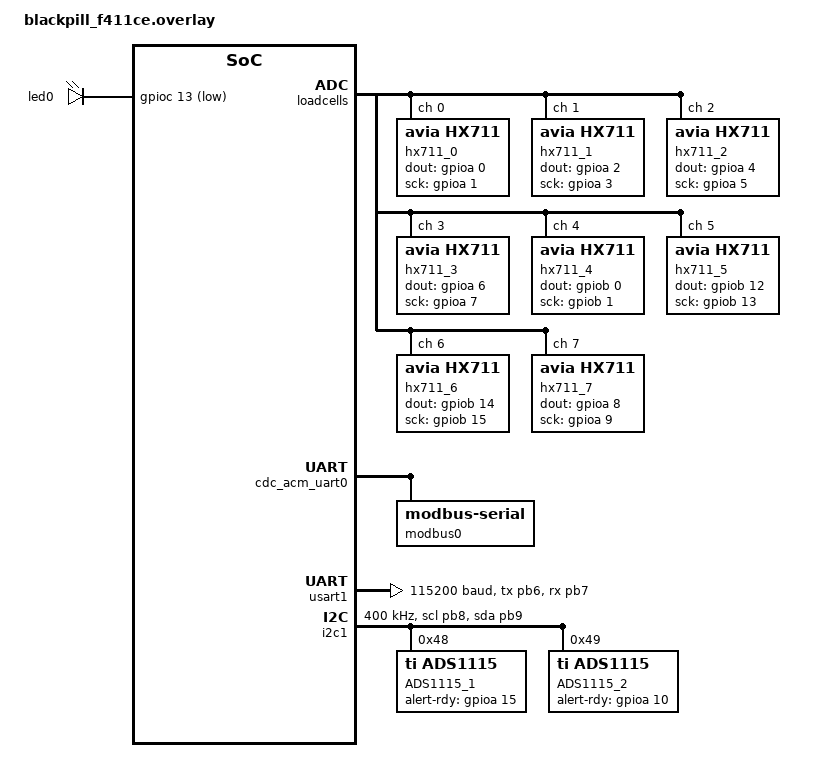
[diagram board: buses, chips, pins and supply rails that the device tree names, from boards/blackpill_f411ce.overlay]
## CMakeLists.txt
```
# SPDX-License-Identifier: Apache-2.0

cmake_minimum_required(VERSION 3.20.0)

find_package(Zephyr REQUIRED HINTS $ENV{ZEPHYR_BASE})
project(dsm)

FILE(GLOB app_sources src/*.c*)
target_sources(app PRIVATE ${app_sources})
```

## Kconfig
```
# Copyright (c) 2023 Nordic Semiconductor ASA
# SPDX-License-Identifier: Apache-2.0

# Source common USB sample options used to initialize new experimental USB
# device stack. The scope of these options is limited to USB samples in project
# tree, you cannot use them in your own application.
source "samples/subsys/usb/common/Kconfig.sample_usbd"

source "Kconfig.zephyr"

config LOADCELL_FREQ
	int "Loadcell sampling frequency (Hz)"
	default 10
	help
	  Sampling frequency for the loadcell in Hz.
	  Default is 10 Hz for rpi_pico, 80 Hz for blackpill_f411ce.

config LOADCELL_ENABLE_FILTER
    bool "Enable loadcell filter"
    default n
    help
      Enable fixed-point loadcell filtering and 10 Hz decimation.
```

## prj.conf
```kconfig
## Build system configuration
CONFIG_LTO=n
CONFIG_SIZE_OPTIMIZATIONS=n
CONFIG_SPEED_OPTIMIZATIONS=y
CONFIG_MINIMAL_LIBC=n
CONFIG_NEWLIB_LIBC=y
CONFIG_NEWLIB_LIBC_FLOAT_PRINTF=y

## Kernel configuration
CONFIG_MULTITHREADING=y
CONFIG_TIMESLICING=y
CONFIG_SYS_CLOCK_TICKS_PER_SEC=1000
CONFIG_TICKLESS_KERNEL=n

# USB device configuration
CONFIG_USB_DEVICE_STACK=y
CONFIG_USB_DEVICE_PID=0x05e1
CONFIG_USB_DEVICE_VID=0x16c0
CONFIG_USB_DEVICE_PRODUCT="Milia/Yamanin"
CONFIG_USB_DEVICE_MANUFACTURER="mkt-kuno@iis.u-tokyo.ac.jp"
CONFIG_USB_DEVICE_INITIALIZE_AT_BOOT=n

# Peripheral drivers
CONFIG_ADC=y
CONFIG_ADC_ASYNC=y
CONFIG_GPIO=y
CONFIG_EVENTS=y
CONFIG_SERIAL=y
CONFIG_I2C=y

# Modbus and Serial(for RTU) configuration
CONFIG_MODBUS=y
CONFIG_MODBUS_ROLE_SERVER=y
CONFIG_MODBUS_FP_EXTENSIONS=y
CONFIG_UART_LINE_CTRL=n
CONFIG_CONSOLE=n
CONFIG_UART_CONSOLE=n
```

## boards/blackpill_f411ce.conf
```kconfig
# Board-specific configuration for BlackPill F411CE
CONFIG_USB_DEVICE_PRODUCT="Yamanin v3.0"
CONFIG_LOADCELL_FREQ=80
CONFIG_LOADCELL_ENABLE_FILTER=y
```

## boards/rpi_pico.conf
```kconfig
# Board-specific configuration for Raspberry Pi Pico
CONFIG_USB_DEVICE_PRODUCT="Milia v4.0"
CONFIG_LOADCELL_FREQ=10
```

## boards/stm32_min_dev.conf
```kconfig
# Board-specific configuration for STM32 Min Dev (STM32F103)
CONFIG_USB_DEVICE_PRODUCT="Yamanin Mini v3.0"
CONFIG_LOADCELL_FREQ=80
CONFIG_LOADCELL_ENABLE_FILTER=y

# Stack size optimizations for STM32F1
CONFIG_MAIN_STACK_SIZE=768
CONFIG_ISR_STACK_SIZE=1024
CONFIG_SYSTEM_WORKQUEUE_STACK_SIZE=768
CONFIG_USB_WORKQUEUE_STACK_SIZE=512
CONFIG_USB_CDC_ACM_RINGBUF_SIZE=1024
CONFIG_ADC_ADS1X1X_ACQUISITION_THREAD_STACK_SIZE=256
```

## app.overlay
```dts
/*
 * Copyright (c) 2021 Nordic Semiconductor ASA
 *
 * SPDX-License-Identifier: Apache-2.0
 */

&zephyr_udc0 {
	cdc_acm_uart0: cdc_acm_uart0 {
		compatible = "zephyr,cdc-acm-uart";

		modbus0 {
			compatible = "zephyr,modbus-serial";
			status = "okay";
		};
	};
};
 
&pinctrl {
    uart0_userdef: uart0_userdef {
		group1 {
			pinmux = <UART0_TX_P16>;
		};
		group2 {
			pinmux = <UART0_RX_P17>;
			input-enable;
		};
	};

    i2c0_userdef: i2c0_userdef {
		group1 {
			pinmux = <I2C0_SDA_P20>, <I2C0_SCL_P21>;
			input-enable;
			input-schmitt-enable;
		};
	};
};

&uart0 {
	current-speed = <921600>;
	status = "okay";
	pinctrl-0 = <&uart0_userdef>;
	pinctrl-names = "default";
};

&i2c0 {
	pinctrl-0 = <&i2c0_userdef>;
	pinctrl-names = "default";
	status = "okay";
	clock-frequency = <I2C_BITRATE_FAST>;

	ads1115_1: ads1115@48 {
		compatible = "ti,ads1115";
		reg = <0x48>;
        label = "ADS1115_1";
		#io-channel-cells = <1>;
        #address-cells = <1>;
        #size-cells = <0>;
        alert-rdy-gpios = <&gpio0 22 GPIO_ACTIVE_HIGH>;

        channel@0 {
            reg = <0>;
            zephyr,gain = "ADC_GAIN_1_3";
            zephyr,reference = "ADC_REF_INTERNAL";
            zephyr,acquisition-time = <ADC_ACQ_TIME(ADC_ACQ_TIME_MICROSECONDS, 1)>;
        };

        channel@1 {
            reg = <1>;
            zephyr,gain = "ADC_GAIN_1_3";
            zephyr,reference = "ADC_REF_INTERNAL";
            zephyr,acquisition-time = <ADC_ACQ_TIME(ADC_ACQ_TIME_MICROSECONDS, 1)>;
        };

        channel@2 {
            reg = <2>;
            zephyr,gain = "ADC_GAIN_1_3";
            zephyr,reference = "ADC_REF_INTERNAL";
            zephyr,acquisition-time = <ADC_ACQ_TIME(ADC_ACQ_TIME_MICROSECONDS, 1)>;
        };

        channel@3 {
            reg = <3>;
            zephyr,gain = "ADC_GAIN_1_3";
            zephyr,reference = "ADC_REF_INTERNAL";
            zephyr,acquisition-time = <ADC_ACQ_TIME(ADC_ACQ_TIME_MICROSECONDS, 1)>;
        };
	};

	ads1115_2: ads1115@49 {
        compatible = "ti,ads1115";
        reg = <0x49>;  // 2つ目のADS1115のI2Cアドレス
        label = "ADS1115_2";
        #io-channel-cells = <1>;
        #address-cells = <1>;
        #size-cells = <0>;
        alert-rdy-gpios = <&gpio0 28 GPIO_ACTIVE_HIGH>;

        channel@0 {
            reg = <0>;
            zephyr,gain = "ADC_GAIN_1_3";
            zephyr,reference = "ADC_REF_INTERNAL";
            zephyr,acquisition-time = <ADC_ACQ_TIME(ADC_ACQ_TIME_MICROSECONDS, 1)>;
        };

        channel@1 {
            reg = <1>;
            zephyr,gain = "ADC_GAIN_1_3";
            zephyr,reference = "ADC_REF_INTERNAL";
            zephyr,acquisition-time = <ADC_ACQ_TIME(ADC_ACQ_TIME_MICROSECONDS, 1)>;
        };

        channel@2 {
            reg = <2>;
            zephyr,gain = "ADC_GAIN_1_3";
            zephyr,reference = "ADC_REF_INTERNAL";
            zephyr,acquisition-time = <ADC_ACQ_TIME(ADC_ACQ_TIME_MICROSECONDS, 1)>;
        };

        channel@3 {
            reg = <3>;
            zephyr,gain = "ADC_GAIN_1_3";
            zephyr,reference = "ADC_REF_INTERNAL";
            zephyr,acquisition-time = <ADC_ACQ_TIME(ADC_ACQ_TIME_MICROSECONDS, 1)>;
        };
    };
};

/ {
    chosen {
        zephyr,console = &uart0;
    };

	hx711_dout: hx711_dout { 
		compatible = "gpio-loadcell";
		gpios = <&gpio0 0  GPIO_ACTIVE_HIGH>,
				<&gpio0 2  GPIO_ACTIVE_HIGH>,
				<&gpio0 4  GPIO_ACTIVE_HIGH>,
				<&gpio0 6  GPIO_ACTIVE_HIGH>,
				<&gpio0 8  GPIO_ACTIVE_HIGH>,
				<&gpio0 10 GPIO_ACTIVE_HIGH>,
				<&gpio0 12 GPIO_ACTIVE_HIGH>,
				<&gpio0 14  GPIO_ACTIVE_HIGH>;
	};

	hx711_sck: hx711_sck { 
		compatible = "gpio-loadcell";
		gpios = <&gpio0 1  GPIO_ACTIVE_HIGH>,
				<&gpio0 3  GPIO_ACTIVE_HIGH>,
				<&gpio0 5  GPIO_ACTIVE_HIGH>,
				<&gpio0 7  GPIO_ACTIVE_HIGH>,
				<&gpio0 9  GPIO_ACTIVE_HIGH>,
				<&gpio0 11 GPIO_ACTIVE_HIGH>,
				<&gpio0 13 GPIO_ACTIVE_HIGH>,
				<&gpio0 15  GPIO_ACTIVE_HIGH>;
	};
};
```

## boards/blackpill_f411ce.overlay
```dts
/*
 * Copyright (c) 2021 Nordic Semiconductor ASA
 *
 * SPDX-License-Identifier: Apache-2.0
 */

&zephyr_udc0 {
	cdc_acm_uart0: cdc_acm_uart0 {
		compatible = "zephyr,cdc-acm-uart";

		modbus0 {
			compatible = "zephyr,modbus-serial";
			status = "okay";
		};
	};
};

&usart1 {
	pinctrl-0 = <&usart1_tx_pb6 &usart1_rx_pb7>;
	pinctrl-names = "default";
	status = "okay";
	current-speed = <115200>;
};

&i2c1 {
	pinctrl-0 = <&i2c1_scl_pb8 &i2c1_sda_pb9>;
	pinctrl-names = "default";
	status = "okay";
	clock-frequency = <I2C_BITRATE_FAST>;

	ads1115_1: ads1115@48 {
		compatible = "ti,ads1115";
		reg = <0x48>;
        label = "ADS1115_1";
		#io-channel-cells = <1>;
        #address-cells = <1>;
        #size-cells = <0>;
        alert-rdy-gpios = <&gpioa 15 GPIO_ACTIVE_HIGH>;

        channel@0 {
            reg = <0>;
            zephyr,gain = "ADC_GAIN_1_3";
            zephyr,reference = "ADC_REF_INTERNAL";
            zephyr,acquisition-time = <ADC_ACQ_TIME(ADC_ACQ_TIME_MICROSECONDS, 1)>;
        };

        channel@1 {
            reg = <1>;
            zephyr,gain = "ADC_GAIN_1_3";
            zephyr,reference = "ADC_REF_INTERNAL";
            zephyr,acquisition-time = <ADC_ACQ_TIME(ADC_ACQ_TIME_MICROSECONDS, 1)>;
        };

        channel@2 {
            reg = <2>;
            zephyr,gain = "ADC_GAIN_1_3";
            zephyr,reference = "ADC_REF_INTERNAL";
            zephyr,acquisition-time = <ADC_ACQ_TIME(ADC_ACQ_TIME_MICROSECONDS, 1)>;
        };

        channel@3 {
            reg = <3>;
            zephyr,gain = "ADC_GAIN_1_3";
            zephyr,reference = "ADC_REF_INTERNAL";
            zephyr,acquisition-time = <ADC_ACQ_TIME(ADC_ACQ_TIME_MICROSECONDS, 1)>;
        };
	};

	ads1115_2: ads1115@49 {
        compatible = "ti,ads1115";
        reg = <0x49>;  // 2つ目のADS1115のI2Cアドレス
        label = "ADS1115_2";
        #io-channel-cells = <1>;
        #address-cells = <1>;
        #size-cells = <0>;
        alert-rdy-gpios = <&gpioa 10 GPIO_ACTIVE_HIGH>;

        channel@0 {
            reg = <0>;
            zephyr,gain = "ADC_GAIN_1_3";
            zephyr,reference = "ADC_REF_INTERNAL";
            zephyr,acquisition-time = <ADC_ACQ_TIME(ADC_ACQ_TIME_MICROSECONDS, 1)>;
        };

        channel@1 {
            reg = <1>;
            zephyr,gain = "ADC_GAIN_1_3";
            zephyr,reference = "ADC_REF_INTERNAL";
            zephyr,acquisition-time = <ADC_ACQ_TIME(ADC_ACQ_TIME_MICROSECONDS, 1)>;
        };

        channel@2 {
            reg = <2>;
            zephyr,gain = "ADC_GAIN_1_3";
            zephyr,reference = "ADC_REF_INTERNAL";
            zephyr,acquisition-time = <ADC_ACQ_TIME(ADC_ACQ_TIME_MICROSECONDS, 1)>;
        };

        channel@3 {
            reg = <3>;
            zephyr,gain = "ADC_GAIN_1_3";
            zephyr,reference = "ADC_REF_INTERNAL";
            zephyr,acquisition-time = <ADC_ACQ_TIME(ADC_ACQ_TIME_MICROSECONDS, 1)>;
        };
    };
};

/ {
	aliases {
		i2c-main = &i2c1;
	};

	chosen {
		zephyr,console = &usart1;
	};

	leds {
		compatible = "gpio-leds";
        led0: led0 {
			gpios = <&gpioc 13 GPIO_ACTIVE_LOW>;
		};
    };

	loadcells {
		#address-cells = <1>;
		#size-cells = <0>;

		hx711_0: hx711@0 {
			compatible = "avia,hx711";
			reg = <0>;
			dout-gpios = <&gpioa 0 GPIO_ACTIVE_HIGH>;
			sck-gpios = <&gpioa 1 GPIO_ACTIVE_HIGH>;
			#interrupt-enable;
		};

		hx711_1: hx711@1 {
			compatible = "avia,hx711";
			reg = <1>;
			dout-gpios = <&gpioa 2 GPIO_ACTIVE_HIGH>;
			sck-gpios = <&gpioa 3 GPIO_ACTIVE_HIGH>;
			interrupt-enable;
		};

		hx711_2: hx711@2 {
			compatible = "avia,hx711";
			reg = <2>;
			dout-gpios = <&gpioa 4 GPIO_ACTIVE_HIGH>;
			sck-gpios = <&gpioa 5 GPIO_ACTIVE_HIGH>;
			interrupt-enable;
		};

		hx711_3: hx711@3 {
			compatible = "avia,hx711";
			reg = <3>;
			dout-gpios = <&gpioa 6 GPIO_ACTIVE_HIGH>;
			sck-gpios = <&gpioa 7 GPIO_ACTIVE_HIGH>;
			interrupt-enable;
		};

		hx711_4: hx711@4 {
			compatible = "avia,hx711";
			reg = <4>;
			dout-gpios = <&gpiob 0 GPIO_ACTIVE_HIGH>;
			sck-gpios = <&gpiob 1 GPIO_ACTIVE_HIGH>;
			interrupt-enable;
		};

		hx711_5: hx711@5 {
			compatible = "avia,hx711";
			reg = <5>;
			dout-gpios = <&gpiob 12 GPIO_ACTIVE_HIGH>;
			sck-gpios = <&gpiob 13 GPIO_ACTIVE_HIGH>;
			interrupt-enable;
		};

		hx711_6: hx711@6 {
			compatible = "avia,hx711";
			reg = <6>;
			dout-gpios = <&gpiob 14 GPIO_ACTIVE_HIGH>;
			sck-gpios = <&gpiob 15 GPIO_ACTIVE_HIGH>;
			interrupt-enable;
		};

		hx711_7: hx711@7 {
			compatible = "avia,hx711";
			reg = <7>;
			dout-gpios = <&gpioa 8 GPIO_ACTIVE_HIGH>;
			sck-gpios = <&gpioa 9 GPIO_ACTIVE_HIGH>;
			interrupt-enable;
		};
	};
};
```

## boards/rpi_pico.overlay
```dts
/*
 * Copyright (c) 2021 Nordic Semiconductor ASA
 *
 * SPDX-License-Identifier: Apache-2.0
 */

&zephyr_udc0 {
	cdc_acm_uart0: cdc_acm_uart0 {
		compatible = "zephyr,cdc-acm-uart";

		modbus0 {
			compatible = "zephyr,modbus-serial";
			status = "okay";
		};
	};
};
 
&pinctrl {
    uart0_userdef: uart0_userdef {
		group1 {
			pinmux = <UART0_TX_P16>;
		};
		group2 {
			pinmux = <UART0_RX_P17>;
			input-enable;
		};
	};

    i2c0_userdef: i2c0_userdef {
		group1 {
			pinmux = <I2C0_SDA_P20>, <I2C0_SCL_P21>;
			input-enable;
			input-schmitt-enable;
		};
	};
};

&uart0 {
	current-speed = <921600>;
	status = "okay";
	pinctrl-0 = <&uart0_userdef>;
	pinctrl-names = "default";
};

&i2c0 {
	pinctrl-0 = <&i2c0_userdef>;
	pinctrl-names = "default";
	status = "okay";
	clock-frequency = <I2C_BITRATE_FAST>;

	ads1115_1: ads1115@48 {
		compatible = "ti,ads1115";
		reg = <0x48>;
        label = "ADS1115_1";
		#io-channel-cells = <1>;
        #address-cells = <1>;
        #size-cells = <0>;
        alert-rdy-gpios = <&gpio0 22 GPIO_ACTIVE_HIGH>;

        channel@0 {
            reg = <0>;
            zephyr,gain = "ADC_GAIN_1_3";
            zephyr,reference = "ADC_REF_INTERNAL";
            zephyr,acquisition-time = <ADC_ACQ_TIME(ADC_ACQ_TIME_MICROSECONDS, 1)>;
        };

        channel@1 {
            reg = <1>;
            zephyr,gain = "ADC_GAIN_1_3";
            zephyr,reference = "ADC_REF_INTERNAL";
            zephyr,acquisition-time = <ADC_ACQ_TIME(ADC_ACQ_TIME_MICROSECONDS, 1)>;
        };

        channel@2 {
            reg = <2>;
            zephyr,gain = "ADC_GAIN_1_3";
            zephyr,reference = "ADC_REF_INTERNAL";
            zephyr,acquisition-time = <ADC_ACQ_TIME(ADC_ACQ_TIME_MICROSECONDS, 1)>;
        };

        channel@3 {
            reg = <3>;
            zephyr,gain = "ADC_GAIN_1_3";
            zephyr,reference = "ADC_REF_INTERNAL";
            zephyr,acquisition-time = <ADC_ACQ_TIME(ADC_ACQ_TIME_MICROSECONDS, 1)>;
        };
	};

	ads1115_2: ads1115@49 {
        compatible = "ti,ads1115";
        reg = <0x49>;  // 2つ目のADS1115のI2Cアドレス
        label = "ADS1115_2";
        #io-channel-cells = <1>;
        #address-cells = <1>;
        #size-cells = <0>;
        alert-rdy-gpios = <&gpio0 28 GPIO_ACTIVE_HIGH>;

        channel@0 {
            reg = <0>;
            zephyr,gain = "ADC_GAIN_1_3";
            zephyr,reference = "ADC_REF_INTERNAL";
            zephyr,acquisition-time = <ADC_ACQ_TIME(ADC_ACQ_TIME_MICROSECONDS, 1)>;
        };

        channel@1 {
            reg = <1>;
            zephyr,gain = "ADC_GAIN_1_3";
            zephyr,reference = "ADC_REF_INTERNAL";
            zephyr,acquisition-time = <ADC_ACQ_TIME(ADC_ACQ_TIME_MICROSECONDS, 1)>;
        };

        channel@2 {
            reg = <2>;
            zephyr,gain = "ADC_GAIN_1_3";
            zephyr,reference = "ADC_REF_INTERNAL";
            zephyr,acquisition-time = <ADC_ACQ_TIME(ADC_ACQ_TIME_MICROSECONDS, 1)>;
        };

        channel@3 {
            reg = <3>;
            zephyr,gain = "ADC_GAIN_1_3";
            zephyr,reference = "ADC_REF_INTERNAL";
            zephyr,acquisition-time = <ADC_ACQ_TIME(ADC_ACQ_TIME_MICROSECONDS, 1)>;
        };
    };
};

/ {
    aliases {
        i2c-main = &i2c0;
    };

    chosen {
        zephyr,console = &uart0;
    };

	loadcells {
		#address-cells = <1>;
		#size-cells = <0>;

		hx711_0: hx711@0 {
			compatible = "avia,hx711";
			reg = <0>;
			dout-gpios = <&gpio0 0 GPIO_ACTIVE_HIGH>;
			sck-gpios = <&gpio0 1 GPIO_ACTIVE_HIGH>;
			interrupt-enable;
		};

		hx711_1: hx711@1 {
			compatible = "avia,hx711";
			reg = <1>;
			dout-gpios = <&gpio0 2 GPIO_ACTIVE_HIGH>;
			sck-gpios = <&gpio0 3 GPIO_ACTIVE_HIGH>;
			interrupt-enable;
		};

		hx711_2: hx711@2 {
			compatible = "avia,hx711";
			reg = <2>;
			dout-gpios = <&gpio0 4 GPIO_ACTIVE_HIGH>;
			sck-gpios = <&gpio0 5 GPIO_ACTIVE_HIGH>;
			interrupt-enable;
		};

		hx711_3: hx711@3 {
			compatible = "avia,hx711";
			reg = <3>;
			dout-gpios = <&gpio0 6 GPIO_ACTIVE_HIGH>;
			sck-gpios = <&gpio0 7 GPIO_ACTIVE_HIGH>;
			interrupt-enable;
		};

		hx711_4: hx711@4 {
			compatible = "avia,hx711";
			reg = <4>;
			dout-gpios = <&gpio0 8 GPIO_ACTIVE_HIGH>;
			sck-gpios = <&gpio0 9 GPIO_ACTIVE_HIGH>;
			interrupt-enable;
		};

		hx711_5: hx711@5 {
			compatible = "avia,hx711";
			reg = <5>;
			dout-gpios = <&gpio0 10 GPIO_ACTIVE_HIGH>;
			sck-gpios = <&gpio0 11 GPIO_ACTIVE_HIGH>;
			interrupt-enable;
		};

		hx711_6: hx711@6 {
			compatible = "avia,hx711";
			reg = <6>;
			dout-gpios = <&gpio0 12 GPIO_ACTIVE_HIGH>;
			sck-gpios = <&gpio0 13 GPIO_ACTIVE_HIGH>;
			interrupt-enable;
		};

		hx711_7: hx711@7 {
			compatible = "avia,hx711";
			reg = <7>;
			dout-gpios = <&gpio0 14 GPIO_ACTIVE_HIGH>;
			sck-gpios = <&gpio0 15 GPIO_ACTIVE_HIGH>;
			interrupt-enable;
		};
	};
};
```

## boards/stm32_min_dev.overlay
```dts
/*
 * Copyright (c) 2021 Nordic Semiconductor ASA
 *
 * SPDX-License-Identifier: Apache-2.0
 */
&zephyr_udc0 {
	cdc_acm_uart0: cdc_acm_uart0 {
		compatible = "zephyr,cdc-acm-uart";

		modbus0 {
			compatible = "zephyr,modbus-serial";
			status = "okay";
		};
	};
};

&i2c1 {
	pinctrl-0 = <&i2c1_scl_remap1_pb8 &i2c1_sda_remap1_pb9>;
	pinctrl-names = "default";
	status = "okay";
	clock-frequency = <I2C_BITRATE_FAST>;

	ads1115_1: ads1115@48 {
		compatible = "ti,ads1115";
		reg = <0x48>;
        label = "ADS1115_1";
		#io-channel-cells = <1>;
        #address-cells = <1>;
        #size-cells = <0>;
        alert-rdy-gpios = <&gpioa 15 GPIO_ACTIVE_HIGH>;

        channel@0 {
            reg = <0>;
            zephyr,gain = "ADC_GAIN_1_3";
            zephyr,reference = "ADC_REF_INTERNAL";
            zephyr,acquisition-time = <ADC_ACQ_TIME(ADC_ACQ_TIME_MICROSECONDS, 1)>;
        };

        channel@1 {
            reg = <1>;
            zephyr,gain = "ADC_GAIN_1_3";
            zephyr,reference = "ADC_REF_INTERNAL";
            zephyr,acquisition-time = <ADC_ACQ_TIME(ADC_ACQ_TIME_MICROSECONDS, 1)>;
        };

        channel@2 {
            reg = <2>;
            zephyr,gain = "ADC_GAIN_1_3";
            zephyr,reference = "ADC_REF_INTERNAL";
            zephyr,acquisition-time = <ADC_ACQ_TIME(ADC_ACQ_TIME_MICROSECONDS, 1)>;
        };

        channel@3 {
            reg = <3>;
            zephyr,gain = "ADC_GAIN_1_3";
            zephyr,reference = "ADC_REF_INTERNAL";
            zephyr,acquisition-time = <ADC_ACQ_TIME(ADC_ACQ_TIME_MICROSECONDS, 1)>;
        };
	};

	ads1115_2: ads1115@49 {
        compatible = "ti,ads1115";
        reg = <0x49>;  // 2つ目のADS1115のI2Cアドレス
        label = "ADS1115_2";
        #io-channel-cells = <1>;
        #address-cells = <1>;
        #size-cells = <0>;
        alert-rdy-gpios = <&gpioa 10 GPIO_ACTIVE_HIGH>;

        channel@0 {
            reg = <0>;
            zephyr,gain = "ADC_GAIN_1_3";
            zephyr,reference = "ADC_REF_INTERNAL";
            zephyr,acquisition-time = <ADC_ACQ_TIME(ADC_ACQ_TIME_MICROSECONDS, 1)>;
        };

        channel@1 {
            reg = <1>;
            zephyr,gain = "ADC_GAIN_1_3";
            zephyr,reference = "ADC_REF_INTERNAL";
            zephyr,acquisition-time = <ADC_ACQ_TIME(ADC_ACQ_TIME_MICROSECONDS, 1)>;
        };

        channel@2 {
            reg = <2>;
            zephyr,gain = "ADC_GAIN_1_3";
            zephyr,reference = "ADC_REF_INTERNAL";
            zephyr,acquisition-time = <ADC_ACQ_TIME(ADC_ACQ_TIME_MICROSECONDS, 1)>;
        };

        channel@3 {
            reg = <3>;
            zephyr,gain = "ADC_GAIN_1_3";
            zephyr,reference = "ADC_REF_INTERNAL";
            zephyr,acquisition-time = <ADC_ACQ_TIME(ADC_ACQ_TIME_MICROSECONDS, 1)>;
        };
    };
};

/ {
	aliases {
		i2c-main = &i2c1;
	};

	chosen {
		zephyr,console = &usart1;
	};

	leds {
		compatible = "gpio-leds";
        led0: led0 {
			gpios = <&gpioc 13 GPIO_ACTIVE_LOW>;
		};
    };

	loadcells {
		#address-cells = <1>;
		#size-cells = <0>;

		hx711_0: hx711@0 {
			compatible = "avia,hx711";
			reg = <0>;
			dout-gpios = <&gpioa 0 GPIO_ACTIVE_HIGH>;
			sck-gpios = <&gpioa 1 GPIO_ACTIVE_HIGH>;
			#interrupt-enable;
		};

		hx711_1: hx711@1 {
			compatible = "avia,hx711";
			reg = <1>;
			dout-gpios = <&gpioa 2 GPIO_ACTIVE_HIGH>;
			sck-gpios = <&gpioa 3 GPIO_ACTIVE_HIGH>;
			interrupt-enable;
		};

		hx711_2: hx711@2 {
			compatible = "avia,hx711";
			reg = <2>;
			dout-gpios = <&gpioa 4 GPIO_ACTIVE_HIGH>;
			sck-gpios = <&gpioa 5 GPIO_ACTIVE_HIGH>;
			interrupt-enable;
		};

		hx711_3: hx711@3 {
			compatible = "avia,hx711";
			reg = <3>;
			dout-gpios = <&gpioa 6 GPIO_ACTIVE_HIGH>;
			sck-gpios = <&gpioa 7 GPIO_ACTIVE_HIGH>;
			interrupt-enable;
		};

		hx711_4: hx711@4 {
			compatible = "avia,hx711";
			reg = <4>;
			dout-gpios = <&gpiob 0 GPIO_ACTIVE_HIGH>;
			sck-gpios = <&gpiob 1 GPIO_ACTIVE_HIGH>;
			interrupt-enable;
		};

		hx711_5: hx711@5 {
			compatible = "avia,hx711";
			reg = <5>;
			dout-gpios = <&gpiob 12 GPIO_ACTIVE_HIGH>;
			sck-gpios = <&gpiob 13 GPIO_ACTIVE_HIGH>;
			interrupt-enable;
		};

		hx711_6: hx711@6 {
			compatible = "avia,hx711";
			reg = <6>;
			dout-gpios = <&gpiob 14 GPIO_ACTIVE_HIGH>;
			sck-gpios = <&gpiob 15 GPIO_ACTIVE_HIGH>;
			interrupt-enable;
		};

		hx711_7: hx711@7 {
			compatible = "avia,hx711";
			reg = <7>;
			dout-gpios = <&gpioa 8 GPIO_ACTIVE_HIGH>;
			sck-gpios = <&gpioa 9 GPIO_ACTIVE_HIGH>;
			interrupt-enable;
		};
	};
};
```

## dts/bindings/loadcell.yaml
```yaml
description: HX711 load cell ADC (GPIO bit-banged)

compatible: "avia,hx711"

properties:
  reg:
    type: int
    required: true
    description: |
      Instance index used for ordering.

  dout-gpios:
    type: phandle-array
    required: true
    description: |
      DOUT pin (data ready / data output).

  sck-gpios:
    type: phandle-array
    required: true
    description: |
      SCK pin (serial clock).

  loadcell-type:
    type: string
    required: false
    enum:
      - hx711
      - cs1237
    description: |
      Load cell ADC model. Defaults to hx711 when omitted.

  interrupt-enable:
    type: boolean
    description: |
      Enable GPIO interrupt on DOUT for data-ready signaling.
```

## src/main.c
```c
/*
 * Copyright (c) 2016 Intel Corporation.
 *
 * SPDX-License-Identifier: Apache-2.0
 */

#include <zephyr/kernel.h>
#include <zephyr/sys/printk.h>

#include <zephyr/drivers/adc.h>
#include <zephyr/drivers/i2c.h>
#include <zephyr/drivers/uart.h>
#include <zephyr/drivers/gpio.h>

#include <zephyr/usb/usb_device.h>
#include <zephyr/usb/usbd.h>
#include <zephyr/modbus/modbus.h>
#include <zephyr/logging/log.h>
#include <zephyr/sys/util.h>

#include "loadcell.h"

LOG_MODULE_REGISTER(main);

#define USB_WORKQUEUE_PRIORITY 	(-2)
#define HX711_STACK_SIZE 		(384)
#define HX711_PRIORITY 			(USB_WORKQUEUE_PRIORITY+2)
#define ADS1115_STACK_SIZE 		(512)
#define ADS1115_PRIORITY 		(USB_WORKQUEUE_PRIORITY+2)
#define GP8403_STACK_SIZE 		(512)
#define GP8403_PRIORITY 		(USB_WORKQUEUE_PRIORITY+3)

#define ADS1115_RESOLUTION 	15 // ADS1115は16ビットの解像度だが差動じゃないので15ビット指定が必要
#define ADS1115_GAIN 		ADC_GAIN_1_3
#define ADS1115_REFERENCE 	ADC_REF_INTERNAL
#define ADS1115_ACQUISITION_TIME ADC_ACQ_TIME(ADC_ACQ_TIME_TICKS, 4)

#define GP8403_MAX_CH	8
static int16_t ads1115_result[8];
static uint16_t gp8403_values[8] = {0};

#define DT_DRV_COMPAT avia_hx711

#define HX711_INTERRUPT_INIT(inst) .is_interrupt_enable = DT_INST_PROP_OR(inst, interrupt_enable, 0),

#define LOADCELL_TYPE_INIT(inst) \
	.chip_type = DT_INST_ENUM_IDX_OR(inst, loadcell_type, LOADCELL_CHIP_HX711),

#define HX711_INIT(inst) { \
	.dout = GPIO_DT_SPEC_INST_GET(inst, dout_gpios), \
	.sck = GPIO_DT_SPEC_INST_GET(inst, sck_gpios), \
	LOADCELL_TYPE_INIT(inst) \
	HX711_INTERRUPT_INIT(inst) \
},

static struct LoadCell hx711_list[] = {
	DT_INST_FOREACH_STATUS_OKAY(HX711_INIT)
};

#define HX711_COUNT DT_NUM_INST_STATUS_OKAY(DT_DRV_COMPAT)
BUILD_ASSERT(HX711_COUNT == 8, "Expected 8 HX711 devices");

#define MODBUS_NODE DT_COMPAT_GET_ANY_STATUS_OKAY(zephyr_modbus_serial)
static const struct device *const i2c_dev = DEVICE_DT_GET(DT_ALIAS(i2c_main));
static const struct device *const modbus_dev = DEVICE_DT_GET(DT_PARENT(MODBUS_NODE));
static const struct gpio_dt_spec mculed_gpio_dt_spec = GPIO_DT_SPEC_GET(DT_NODELABEL(led0), gpios);

static const struct device *const ads1115_dev[] = {
	DEVICE_DT_GET(DT_NODELABEL(ads1115_1)),
	DEVICE_DT_GET(DT_NODELABEL(ads1115_2)),
};

typedef struct gp8403_message {
	uint16_t channel; // 0~7
	uint16_t value; // 0~10000
} gp8403_msg_t;
#define GP8403_MSG_BUF_SIZE (GP8403_MAX_CH*2)
gp8403_msg_t gp8403_msg_buffer[GP8403_MSG_BUF_SIZE];
struct k_msgq gp8403_msgq;

void hx711_main(void *param1, void *param2, void *param3);
void gp8403_main(void *param1, void *param2, void *param3);
void ads1115_main(void *param1, void *param2, void *param3);

#define HX711_THREAD_DEFINE(inst) \
	K_THREAD_DEFINE(tid_hx711_##inst, HX711_STACK_SIZE, hx711_main, &hx711_list[inst], NULL, NULL, HX711_PRIORITY, 0, 0);

DT_INST_FOREACH_STATUS_OKAY(HX711_THREAD_DEFINE)
K_THREAD_DEFINE(tid_ads1115_0, ADS1115_STACK_SIZE, ads1115_main, 0, NULL, NULL, ADS1115_PRIORITY, 0, 0);
K_THREAD_DEFINE(tid_ads1115_1, ADS1115_STACK_SIZE, ads1115_main, 1, NULL, NULL, ADS1115_PRIORITY, 0, 0);
K_THREAD_DEFINE(tid_gp8403, GP8403_STACK_SIZE, gp8403_main, NULL, NULL, NULL, GP8403_PRIORITY, 0, 0);

static int modbus_slave_coil_rd(uint16_t addr, bool *state)
{
	if (addr > 0) return -ENOTSUP;
	// addr 0: MCU Board-LED
	if (addr == 0) {
		*state = gpio_pin_get_dt(&mculed_gpio_dt_spec);
	}
	return 0;
}

static int modbus_slave_coil_wr(uint16_t addr, bool state)
{
	if (addr > 0) return -ENOTSUP;
	// addr 0: MCU Board-LED
	if (addr == 0) {
		gpio_pin_set_dt(&mculed_gpio_dt_spec, state);
	}
	return 0;
}

static int modbus_slave_holding_reg_rd(uint16_t addr, uint16_t *reg)
{
	if (addr >= GP8403_MAX_CH) return -ENOTSUP;
	uint32_t key = 0;
	key = irq_lock();
	{
		*reg = gp8403_values[addr];
	}
	irq_unlock(key);
	return 0;
}

static int modbus_slave_holding_reg_wr(uint16_t addr, uint16_t reg)
{
	if (addr >= GP8403_MAX_CH) return -ENOTSUP;
	if (reg > 10000) reg = 10000;

	gp8403_msg_t send_data = {0};
	send_data.channel = addr;
	send_data.value = reg;

	int ret = k_msgq_put(&gp8403_msgq, &send_data, K_NO_WAIT);
	if (ret) {
		LOG_ERR("GP8403 msgq full");
	}
	return 0;
}

static int modbus_slave_input_reg_rd(uint16_t addr, uint16_t *reg)
{
	if (addr < 8){
		// HX711 values
		*reg = (uint16_t)(loadcell_get_raw_value(&hx711_list[addr]) & 0xFFFF);
	} else  if (addr < 16) {
		// ADS1115 values
		uint32_t key = 0;
		key = irq_lock();
		{
			*reg = (uint16_t)(ads1115_result[addr - 8] & 0xFFFF);
		}
		irq_unlock(key);
	} else {
		return -ENOTSUP;
	}
	return 0;
}

static int modbus_slave_input_reg_rd_fp(uint16_t addr, float *reg)
{
	addr = (addr - 5000)/2;
	if (addr < 8){
		// HX711 values
		int32_t _temp = loadcell_get_raw_value_i32(&hx711_list[addr]);
		*reg = _temp/256.0f;
	} else  if (addr < 16) {
		// ADS1115 values
		uint32_t key = 0;
		key = irq_lock();
		{
			*reg = ads1115_result[addr - 8];
		}
		irq_unlock(key);
	} else {
		return -ENOTSUP;
	}
	return 0;
}

static struct modbus_user_callbacks modbus_slave_user_callbacks = {
	.coil_rd = modbus_slave_coil_rd,
	.coil_wr = modbus_slave_coil_wr,
	.holding_reg_rd = modbus_slave_holding_reg_rd,
	.holding_reg_wr = modbus_slave_holding_reg_wr,
	.input_reg_rd = modbus_slave_input_reg_rd,
	.input_reg_rd_fp = modbus_slave_input_reg_rd_fp,
};

const static struct modbus_iface_param modbus_slave_if_param = {
	.mode = MODBUS_MODE_RTU,
	.server = {
		.user_cb = &modbus_slave_user_callbacks,
		.unit_id = 1,
	},
	.serial = {
		.baud = 38400,
		.parity = UART_CFG_PARITY_NONE,
	},
};

static int modbus_slave_init(void)
{
	const char iface_name[] = {DEVICE_DT_NAME(MODBUS_NODE)};
	int iface;

	iface = modbus_iface_get_by_name(iface_name);

	if (iface < 0) {
		LOG_ERR("Failed to get iface index for %s", iface_name);
		return iface;
	}

	return modbus_init_server(iface, modbus_slave_if_param);
}

int main(void)
{
	gpio_pin_configure_dt(&mculed_gpio_dt_spec, GPIO_OUTPUT_INACTIVE);

	k_msgq_init(&gp8403_msgq, (char *)gp8403_msg_buffer, sizeof(gp8403_msg_t), GP8403_MSG_BUF_SIZE);

	if (!device_is_ready(modbus_dev) || usb_enable(NULL)) {
		return 0;
	}

	if (modbus_slave_init()) {
		LOG_ERR("Modbus RTU server initialization failed");
	}
}

static int16_t ads1115_sample_buffer[2]; // サンプルバッファ
static struct adc_channel_cfg ads1115_channel_cfg[2] = {
	{
		.channel_id = 0,
		.differential = 0,
		.gain = ADS1115_GAIN,
		.reference = ADS1115_REFERENCE,
		.acquisition_time = ADS1115_ACQUISITION_TIME,
	},
	{
		.channel_id = 0,
		.differential = 0,
		.gain = ADS1115_GAIN,
		.reference = ADS1115_REFERENCE,
		.acquisition_time = ADS1115_ACQUISITION_TIME,
	}
};

static struct adc_sequence ads1115_sequence[2] = {
	{
		.buffer = &ads1115_sample_buffer[0],
		.buffer_size = 2,
		.resolution = ADS1115_RESOLUTION,
		.channels = BIT(0),
		.calibrate = 0,
		.options = NULL
	},
	{
		.buffer = &ads1115_sample_buffer[1],
		.buffer_size = 2,
		.resolution = ADS1115_RESOLUTION,
		.channels = BIT(0),
		.calibrate = 0,
		.options = NULL
	}
};

int16_t ads1115_read_adc_channel(uint8_t unit_id, uint8_t channel_id)
{
	ads1115_channel_cfg[unit_id].input_positive = channel_id;
	const struct device *const dev = ads1115_dev[unit_id];
    if (adc_channel_setup(dev, &ads1115_channel_cfg[unit_id]) != 0) {
        LOG_ERR("Failed to setup ADC channel %d", channel_id);
        return -1;
    }

    if (adc_read(dev, &ads1115_sequence[unit_id]) != 0) {
        LOG_ERR("Failed to read ADC channel %d", channel_id);
        return -1;
    }

    return ads1115_sample_buffer[unit_id];
}

void ads1115_main(void *param1, void *param2, void *param3)
{
	uint32_t key = 0;
	uint8_t unit_id = (uint8_t)((uint32_t)(param1) & 0xFF);
	if (unit_id > 1) {
		LOG_ERR("Invalid unit_id %d", unit_id);
		return;
	}

	while (1) {
		for (int channel = 0; channel < 4; channel++) {
			int16_t value = ads1115_read_adc_channel(unit_id, channel);
			key = irq_lock();
			{
				ads1115_result[unit_id * 4 + channel] = value;
			}
			irq_unlock(key);
		}
	}
}

void hx711_main(void *param1, void *param2, void *param3)
{
	ARG_UNUSED(param2);
	ARG_UNUSED(param3);
	struct LoadCell *lc = (struct LoadCell *)(param1);
	loadcell_setup(lc);
	loadcell_loop(lc);
}

int gp8403_init(uint8_t adr) {
	struct i2c_msg msgs[1];
	unsigned char buf[2];
	int ret = 0;

	buf[0] = 0x01; //OUTPUT_RANGE
	
	msgs[0].buf = &buf[0];
	msgs[0].len = 1;
	msgs[0].flags = I2C_MSG_WRITE | I2C_MSG_STOP;
	ret = i2c_transfer(i2c_dev, &msgs[0], 1, adr);
	if (ret) {
		LOG_ERR("Failed to set GP8403 init: %d", ret);
	}
	LOG_INF("GP8403 init done");
	
	msgs[0].buf[0] = 0x01; //OUTPUT_RANGE
	msgs[0].buf[1] = 0x11; //0-10V
	msgs[0].len = 2;
	ret = i2c_transfer(i2c_dev, &msgs[0], 1, adr);
	if (ret) {
		LOG_ERR("Failed to set GP8403 output range ret: %d", ret);
	}
	LOG_INF("GP8403 output range 10V set done");

	return ret;
}

int gp8403_set_channel(uint8_t address, uint8_t channel_id, uint16_t data) {
	struct i2c_msg msgs[1];
	uint8_t buf[3];
	int ret = 0;
	uint16_t send_data = data <= 10000 ? data : 10000;
	send_data = (uint16_t)(((float)send_data / 10000) * 0x0FFF) << 4;
	
	buf[0] = channel_id==0? 0x02: 0x04;  // GP8302_CONFIG_CURRENT_REG
	buf[1] = send_data & 0xFF;
	buf[2] = (send_data >> 8) & 0xFF;

	msgs[0].buf = &buf[0];
	msgs[0].len = 3;
	msgs[0].flags = I2C_MSG_WRITE | I2C_MSG_STOP;

	ret = i2c_transfer(i2c_dev, &msgs[0], 1, address);
	if (ret) LOG_ERR("Failed to set GP8404 channel %d: %d", channel_id, ret);
	return ret;
}

int gp8403_set_channels(uint8_t address, uint16_t data_0, uint16_t data_1) {
	struct i2c_msg msgs[1];
	uint8_t buf[5];
	uint16_t send_data[2] = {0, 0};
	send_data[0] = data_0 <= 10000 ? data_0 : 10000;
	send_data[0] = (uint16_t)(((float)send_data[0] / 10000) * 0x0FFF) << 4;
	send_data[1] = data_1 <= 10000 ? data_1 : 10000;
	send_data[1] = (uint16_t)(((float)send_data[1] / 10000) * 0x0FFF) << 4;
	
	buf[0] = 0x02; // GP8302_CONFIG_CURRENT_REG
	buf[1] = send_data[0] & 0xFF;
	buf[2] = (send_data[0] >> 8) & 0xFF;
	buf[3] = send_data[1] & 0xFF;
	buf[4] = (send_data[1] >> 8) & 0xFF;

	msgs[0].buf = &buf[0];
	msgs[0].len = 5;
	msgs[0].flags = I2C_MSG_WRITE | I2C_MSG_STOP;

	return i2c_transfer(i2c_dev, &msgs[0], 1, address);
}

void gp8403_main(void *param1, void *param2, void *param3) {
	const uint8_t gp8403_adr[] = {0x58, 0x59, 0x5A, 0x5B};
	int ret = 0;

	// set GP8403 output range to 0-10V
	for (int ch = 0; ch < 4; ch++) {
		gp8403_values[2*ch + 0] = 0;
		gp8403_values[2*ch + 1] = 0;
		ret = gp8403_init(gp8403_adr[ch]);
		if (ret) {
			LOG_ERR("Failed to init GP8403 adrs:0x%2d", gp8403_adr[ch]);
		}
		ret = gp8403_set_channels(gp8403_adr[ch], 0, 0);
		if (ret) {
			LOG_ERR("Failed to set GP8403 adrs:0x%2d", gp8403_adr[ch]);
		}
	}

	// Change Value
	uint16_t gp8403_request[8] = {0};
	for (;;) {
		gp8403_msg_t recv_data;
		// Wait for request
		k_msgq_get(&gp8403_msgq, &recv_data, K_FOREVER);
		gp8403_request[recv_data.channel] = recv_data.value;
		// Get all requests in the queue
		while (k_msgq_peek(&gp8403_msgq, &recv_data) == 0)
		{
			int ret = k_msgq_get(&gp8403_msgq, &recv_data, K_NO_WAIT);
			if (ret) {
				LOG_ERR("Failed to get GP8403 msgq");
				break;
			}
			gp8403_request[recv_data.channel] = recv_data.value;
		}

		for (int ch = 0; ch < 4; ch++) {
			// Change DAC outputs, both channels
			uint16_t req0 = gp8403_request[2*ch + 0];
			uint16_t req1 = gp8403_request[2*ch + 1];
			if (gp8403_values[2*ch + 0] != req0
			 && gp8403_values[2*ch + 1] != req1) {
				ret = gp8403_set_channels(gp8403_adr[ch], req0, req1);
				gp8403_values[2*ch + 0] = req0;
				gp8403_values[2*ch + 1] = req1;
				if (ret) {
					LOG_ERR("Failed to set GP8403 adrs:0x%2d", gp8403_adr[ch]);
				}
			}
			// Change DAC output only for channel 0
			else if (gp8403_values[2*ch + 0] != req0) {
				ret = gp8403_set_channel(gp8403_adr[ch], 0, req0);
				gp8403_values[2*ch + 0] = req0;
				if (ret) {
					LOG_ERR("Failed to set GP8403 adrs:0x%2d", gp8403_adr[ch]);
				}
			}
			// Change DAC output only for channel 1
			else if (gp8403_values[2*ch + 1] != req1) {
				ret = gp8403_set_channel(gp8403_adr[ch], 1, req1);
				gp8403_values[2*ch + 1] = req1;
				if (ret) {
					LOG_ERR("Failed to set GP8403 adrs:0x%2d", gp8403_adr[ch]);
				}
			}
		}
	}
}
```

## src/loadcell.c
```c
#include "loadcell.h"

#include <limits.h>
#include <string.h>
#include <zephyr/logging/log.h>

LOG_MODULE_REGISTER(lc);

#if LOADCELL_ENABLE_FILTER
struct lc_sos {
	int32_t b0;
	int32_t b1;
	int32_t b2;
	int32_t a1;
	int32_t a2;
};

static inline int32_t sat32(int64_t x)
{
	if (x > INT32_MAX) {
		return INT32_MAX;
	}
	if (x < INT32_MIN) {
		return INT32_MIN;
	}
	return (int32_t)x;
}

static inline int32_t q31_mul(int32_t a, int32_t b)
{
	int64_t prod = (int64_t)a * (int64_t)b;

	prod += (prod >= 0) ? (1LL << 30) : -(1LL << 30);
	return (int32_t)(prod >> 31);
}

static inline int32_t sos_df2t(const struct lc_sos *c, struct lc_sos_state *s, int32_t x)
{
	int64_t acc = (int64_t)q31_mul(c->b0, x) + s->z1;
	int32_t y = sat32(acc);
	int64_t z1 = (int64_t)q31_mul(c->b1, x) + s->z2 - (int64_t)q31_mul(c->a1, y);
	int64_t z2 = (int64_t)q31_mul(c->b2, x) - (int64_t)q31_mul(c->a2, y);

	s->z1 = sat32(z1);
	s->z2 = sat32(z2);
	return y;
}

/*
 * IIR pipeline (Fs = 80 Hz, Q31, DF2T):
 * - Notches at 20 Hz and 30 Hz to suppress 60/50 Hz aliases after sampling.
 * - Low-pass is a conservative 3x one-pole cascade at 3.2 Hz to keep |a1| < 1 in Q31.
 *   Replace the last 3 sections with an offline-designed SOS (ellip/cheby2/butter) if
 *   sharper stopband rejection is required.
 *
 * Example (Python/scipy) for elliptic SOS generation and Q31 conversion:
 *   sos = signal.ellip(6, 1, 70, 3.2, 'low', fs=80, output='sos')
 *   q31 = np.round(sos[:, :3] * 2**31).astype(np.int64)
 *   # a0 is 1; use a1/a2 from sos[:, 4:6] and convert to Q31 the same way.
 */
static const struct lc_sos lc_sos_coeffs[LOADCELL_SOS_COUNT] = {
	/* Notch @20 Hz, Q=0.8 (wide to tolerate drift, fits Q31 range). */
	{ 1321528399, 0, 1321528399, 0, 495573150 },
	/* Notch @30 Hz, Q=0.8 (wide to tolerate drift, fits Q31 range). */
	{ 1489299873, 2106188079, 1489299873, 2106188079, 831116099 },
	/* Low-pass 1-pole @3.2 Hz (section 1/3). */
	{ 477240275, 0, 0, -1670243373, 0 },
	/* Low-pass 1-pole @3.2 Hz (section 2/3). */
	{ 477240275, 0, 0, -1670243373, 0 },
	/* Low-pass 1-pole @3.2 Hz (section 3/3). */
	{ 477240275, 0, 0, -1670243373, 0 },
};

static void loadcell_filter_reset(struct LoadCell *lc)
{
	uint32_t key = irq_lock();
	struct lc_filter_state *st = &lc->lc_filter_states;

	if (st != NULL) {
		memset(st, 0, sizeof(*st));
	}
	lc->filtered_value = 0;
	irq_unlock(key);
}

static bool loadcell_filter_process(struct LoadCell *lc, int32_t x, int32_t *out)
{
	struct lc_filter_state *st = &lc->lc_filter_states;
	int32_t y = x;

	if (st == NULL) {
		return false;
	}

	for (int i = 0; i < LOADCELL_SOS_COUNT; i++) {
		y = sos_df2t(&lc_sos_coeffs[i], &st->sos[i], y);
	}

	st->decim_count++;
	if (st->decim_count >= LOADCELL_DECIM_FACTOR) {
		st->decim_count = 0;
		st->last_output = y;
		if (out != NULL) {
			*out = y;
		}
		return true;
	}

	return false;
}
#endif

#define LOADCELL_EVENT (0x0001)
static void loadcell_dout_ready_callback(const struct device *dev, struct gpio_callback *cb, uint32_t pins) {
	struct LoadCell *lc = CONTAINER_OF(cb, struct LoadCell, gpio_cb);
	gpio_pin_interrupt_configure_dt(&lc->dout, GPIO_INT_DISABLE);
	k_event_set(&lc->event, LOADCELL_EVENT);
}

static inline int loadcell_onebit_in(struct LoadCell *lc) {
    int val = 0;
    gpio_pin_set_dt(&lc->sck, 1);
    k_busy_wait(1);
    gpio_pin_set_dt(&lc->sck, 0);
    val = gpio_pin_get_dt(&lc->dout);
    k_busy_wait(1);
    return val;
}

static inline void loadcell_onebit_out(struct LoadCell *lc, int output) {
    gpio_pin_set_dt(&lc->sck, 1);
    k_busy_wait(1);
	gpio_pin_set_dt(&lc->dout, output);
    gpio_pin_set_dt(&lc->sck, 0);
    k_busy_wait(1);
}

static inline int32_t loadcell_get_24bit_data(struct LoadCell *lc) {
    int32_t val = 0x00000000;
    for (int bit = 0; bit < 24; bit++) val = ((0x7FFFFFFF & val) << 1) | (loadcell_onebit_in(lc) & 0x01);
	if (val & 0x00800000) val |= 0xFF000000;
    return val;
}

int32_t loadcell_get_raw_value_i32(struct LoadCell *lc) {
	int32_t ret = 0;
	uint32_t key = irq_lock();
	{
#if LOADCELL_ENABLE_FILTER
		ret = lc->filtered_value;
#else
		ret = lc->previous_value;
#endif
	}
	irq_unlock(key);
    return ret;
}

int16_t loadcell_get_raw_value(struct LoadCell *lc) {
	int32_t ret = loadcell_get_raw_value_i32(lc);
    return (int16_t)((ret >> 8) & 0x0000FFFF);
}

void loadcell_setup(struct LoadCell *lc) {
	int timeout = 1000;
	// init value
	lc->is_init = false;
	lc->previous_value = 0;
#if LOADCELL_ENABLE_FILTER
	lc->p_filter_buf = -1;
	loadcell_filter_reset(lc);
#endif
	// init gpio
    gpio_pin_configure_dt(&lc->dout, GPIO_INPUT | GPIO_PULL_UP);
    gpio_pin_configure_dt(&lc->sck, GPIO_OUTPUT | GPIO_PULL_UP);

	if (lc->is_interrupt_enable) {
		k_event_init(&lc->event);
		gpio_init_callback(&lc->gpio_cb, loadcell_dout_ready_callback, BIT(lc->dout.pin));
		gpio_add_callback_dt(&lc->dout, &lc->gpio_cb);
	}

    // Reset and power down
    gpio_pin_set_dt(&lc->sck, 0);
    gpio_pin_set_dt(&lc->sck, 1);
	if (lc->chip_type == LOADCELL_CHIP_CS1237) {
		k_msleep(100);
	} else {
		k_usleep(100);
	}
    gpio_pin_set_dt(&lc->sck, 0);

    // Wait for waking up
    while (gpio_pin_get_dt(&lc->dout) == 0) {
        k_msleep(1);
		if (--timeout == 0) k_sleep(K_FOREVER);
    }

    // Wait for power up
    while (gpio_pin_get_dt(&lc->dout) == 1) {
        k_msleep(1);
		if (--timeout == 0) k_sleep(K_FOREVER);
    }

	if (lc->is_interrupt_enable) {
		gpio_pin_interrupt_configure_dt(&lc->dout, GPIO_INT_EDGE_TO_ACTIVE);
	}
}

void loadcell_loop(struct LoadCell *lc) {
	int32_t val = 0;
	uint32_t key = 0;

	const int32_t wait_bit_us = 10 * 1000 / CONFIG_LOADCELL_FREQ;
	const int32_t wait_next_us = 800 * 1000 / CONFIG_LOADCELL_FREQ;

	while(true) {
		if (lc->is_interrupt_enable){
			k_event_wait(&lc->event, LOADCELL_EVENT, true, K_FOREVER);
		}
		else {
			while (gpio_pin_get_dt(&lc->dout) == 1) k_usleep(wait_bit_us);
		}
		key = irq_lock();
		{
			val = loadcell_get_24bit_data(lc);
			if (lc->chip_type == LOADCELL_CHIP_CS1237) {
				// Set Mode "same as HX711 protocol"
				// keep HIGH, if data is not READY
				// bit: 25-27
				loadcell_onebit_in(lc);
				loadcell_onebit_in(lc);
				loadcell_onebit_in(lc);

				if (lc->is_init == false) {
					// set DOUT output
					gpio_pin_configure_dt(&lc->dout, GPIO_OUTPUT | GPIO_PULL_UP);
					// 28-29bit (force High)
					loadcell_onebit_out(lc, 1);
					loadcell_onebit_out(lc, 1);
					// set mode Write "Function config" (0x65)
					// 30-36bit
					loadcell_onebit_out(lc, 1);
					loadcell_onebit_out(lc, 1);
					loadcell_onebit_out(lc, 0);
					loadcell_onebit_out(lc, 0);
					loadcell_onebit_out(lc, 1);
					loadcell_onebit_out(lc, 0);
					loadcell_onebit_out(lc, 1);
					// wait 1bit for change dir
					// 37bit
					loadcell_onebit_out(lc, 1);
					// set "Function config"
					// 38-45bit
					loadcell_onebit_out(lc, 0);
					loadcell_onebit_out(lc, 0);
					// freq bits 00: 10Hz 01: 40Hz
					// freq bits 10:640Hz 11:1280Hz
#if (CONFIG_LOADCELL_FREQ == 640 || CONFIG_LOADCELL_FREQ == 1280)
					loadcell_onebit_out(lc, 1);
#else
					loadcell_onebit_out(lc, 0);
#endif
#if (CONFIG_LOADCELL_FREQ == 40 || CONFIG_LOADCELL_FREQ == 1280)
					loadcell_onebit_out(lc, 1);
#else
					loadcell_onebit_out(lc, 0);
#endif
					loadcell_onebit_out(lc, 1);// PGA bits  00: x1   01: x2
					loadcell_onebit_out(lc, 1);// PGA bits  10: x64  11: x128
					loadcell_onebit_out(lc, 0);
					loadcell_onebit_out(lc, 0);
					// wait 1bit for change dir
					loadcell_onebit_out(lc, 1);
					// reset DOUT input
					gpio_pin_configure_dt(&lc->dout, GPIO_INPUT | GPIO_PULL_UP);

					lc->is_init = true;
				}
			} else {
				// 25bit (ch A gain 128)
				// 26bit (ch B gain 32)
				// 27bit (ch A gain 64)

				// set ch A gain 128
				loadcell_onebit_in(lc);
			}
			lc->previous_value = val;
		}
		irq_unlock(key);
		
		if (lc->is_interrupt_enable){
			gpio_pin_interrupt_configure_dt(&lc->dout, GPIO_INT_EDGE_TO_INACTIVE);
		} else {
			k_usleep(wait_next_us);
		}

#if LOADCELL_ENABLE_FILTER
		// IIR + decimate (80 Hz -> 10 Hz). Update output every 8 samples.
		int32_t filt_out = 0;
		if (loadcell_filter_process(lc, val, &filt_out)) {
			key = irq_lock();
			{
				lc->filtered_value = filt_out;
			}
			irq_unlock(key);
		}
#endif
	}
}
```

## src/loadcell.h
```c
#ifndef LOADCELL_INCLUDE_H
#define LOADCELL_INCLUDE_H

#include <zephyr/kernel.h>
#include <zephyr/drivers/uart.h>
#include <zephyr/drivers/gpio.h>

#ifndef CONFIG_LOADCELL_FREQ
#define CONFIG_LOADCELL_FREQ 	(10)
#endif

#ifndef CONFIG_LOADCELL_ENABLE_FILTER
#define CONFIG_LOADCELL_ENABLE_FILTER 0
#endif
#define LOADCELL_ENABLE_FILTER CONFIG_LOADCELL_ENABLE_FILTER
#if LOADCELL_ENABLE_FILTER
#define SMA (CONFIG_LOADCELL_FREQ/10)
#endif

#define LOADCELL_DECIM_FACTOR 8
#define LOADCELL_SOS_COUNT 5

enum loadcell_chip_type {
    LOADCELL_CHIP_HX711 = 0,
    LOADCELL_CHIP_CS1237 = 1,
};

struct lc_sos_state {
	int32_t z1;
	int32_t z2;
};

struct lc_filter_state {
	struct lc_sos_state sos[LOADCELL_SOS_COUNT];
	uint8_t decim_count;
	int32_t last_output;
};

struct LoadCell {
    struct gpio_dt_spec dout;
    struct gpio_dt_spec sck;
    enum loadcell_chip_type chip_type;
    int32_t previous_value;
    bool is_init;
    bool is_interrupt_enable;
    struct gpio_callback gpio_cb;
    struct k_event event;
#if LOADCELL_ENABLE_FILTER
    int32_t filtered_value;
    int32_t filter_buf[SMA];
    int p_filter_buf;
    struct lc_filter_state lc_filter_states;
#endif
};

void loadcell_setup(struct LoadCell *lc);
void loadcell_loop(struct LoadCell *lc);
int32_t loadcell_get_raw_value_i32(struct LoadCell *lc);
int16_t loadcell_get_raw_value(struct LoadCell *lc);

#endif // LOADCELL_INCLUDE_H
```
